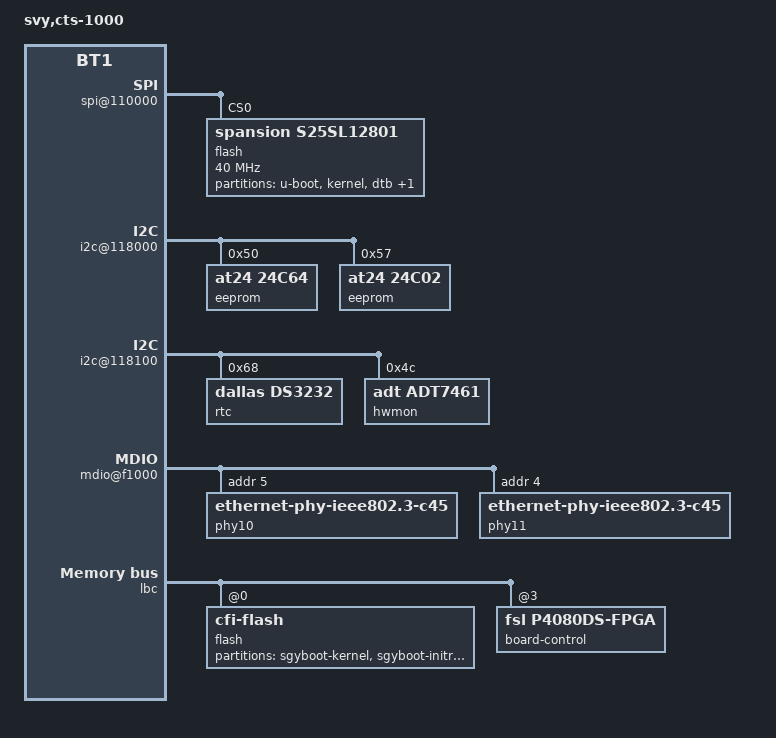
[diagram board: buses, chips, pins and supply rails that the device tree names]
/*
 * Servergy CTS-1000 (CT1) Device Tree Source
 *
 * Copyright 2009 - 2015 Freescale Semiconductor Inc.
 * Copyright 2011-2013, 2015-2018 Servergy, Inc.
 *
 * Redistribution and use in source and binary forms, with or without
 * modification, are permitted provided that the following conditions are met:
 *     * Redistributions of source code must retain the above copyright
 *       notice, this list of conditions and the following disclaimer.
 *     * Redistributions in binary form must reproduce the above copyright
 *       notice, this list of conditions and the following disclaimer in the
 *       documentation and/or other materials provided with the distribution.
 *     * Neither the name of Freescale Semiconductor nor the
 *       names of its contributors may be used to endorse or promote products
 *       derived from this software without specific prior written permission.
 *
 *
 * ALTERNATIVELY, this software may be distributed under the terms of the
 * GNU General Public License ("GPL") as published by the Free Software
 * Foundation, either version 2 of that License or (at your option) any
 * later version.
 *
 * THIS SOFTWARE IS PROVIDED BY Freescale Semiconductor ``AS IS'' AND ANY
 * EXPRESS OR IMPLIED WARRANTIES, INCLUDING, BUT NOT LIMITED TO, THE IMPLIED
 * WARRANTIES OF MERCHANTABILITY AND FITNESS FOR A PARTICULAR PURPOSE ARE
 * DISCLAIMED. IN NO EVENT SHALL Freescale Semiconductor BE LIABLE FOR ANY
 * DIRECT, INDIRECT, INCIDENTAL, SPECIAL, EXEMPLARY, OR CONSEQUENTIAL DAMAGES
 * (INCLUDING, BUT NOT LIMITED TO, PROCUREMENT OF SUBSTITUTE GOODS OR SERVICES;
 * LOSS OF USE, DATA, OR PROFITS; OR BUSINESS INTERRUPTION) HOWEVER CAUSED AND
 * ON ANY THEORY OF LIABILITY, WHETHER IN CONTRACT, STRICT LIABILITY, OR TORT
 * (INCLUDING NEGLIGENCE OR OTHERWISE) ARISING IN ANY WAY OUT OF THE USE OF THIS
 * SOFTWARE, EVEN IF ADVISED OF THE POSSIBILITY OF SUCH DAMAGE.
 */

#include <dt-bindings/gpio/gpio.h>
/include/ "p4080si-pre.dtsi"

/ {
	model = "svy,cts-1000";
	compatible = "fsl,P4080DS", "cyphre,bt1";
	#address-cells = <2>;
	#size-cells = <2>;
	interrupt-parent = <&mpic>;

	memory {
		device_type = "memory";
	};

	reserved-memory {
		#address-cells = <2>;
		#size-cells = <2>;
		ranges;

		bman_fbpr: bman-fbpr {
			size = <0 0x1000000>;
			alignment = <0 0x1000000>;
		};
		qman_fqd: qman-fqd {
			size = <0 0x400000>;
			alignment = <0 0x400000>;
		};
		qman_pfdr: qman-pfdr {
			size = <0 0x2000000>;
			alignment = <0 0x2000000>;
		};
	};

	dcsr: dcsr@f00000000 {
		ranges = <0x00000000 0xf 0x00000000 0x01008000>;
	};

	bportals: bman-portals@ff4000000 {
		ranges = <0x0 0xf 0xf4000000 0x200000>;
	};

	qportals: qman-portals@ff4200000 {
		ranges = <0x0 0xf 0xf4200000 0x200000>;
	};

	soc: soc@ffe000000 {
		ranges = <0x00000000 0xf 0xfe000000 0x1000000>;
		reg = <0xf 0xfe000000 0 0x00001000>;

		spi@110000 {
			flash@0 {
				#address-cells = <1>;
				#size-cells = <1>;
				compatible = "spansion,s25sl12801", "jedec,spi-nor";
				reg = <0>;
				spi-max-frequency = <40000000>; /* input clock */
				partition@u-boot {
					label = "u-boot";
					reg = <0x00000000 0x00100000>;
					read-only;
				};
				partition@kernel {
					label = "kernel";
					reg = <0x00100000 0x00500000>;
					read-only;
				};
				partition@dtb {
					label = "dtb";
					reg = <0x00600000 0x00100000>;
					read-only;
				};
				partition@fs {
					label = "file system";
					reg = <0x00700000 0x00900000>;
				};
			};
		};

		i2c@118000 {
			/* RCW EEPROM */
			eeprom@50 {
				compatible = "at24,24c64";
				reg = <0x50>;
			};
			/* SYS EEPROM */
			eeprom@57 {
				compatible = "at24,24c02";
				reg = <0x57>;
			};
		};

		i2c@118100 {
			rtc@68 {
				compatible = "dallas,ds3232";
				reg = <0x68>;
				interrupts = <0x1 0x1 0 0>;
			};
			hwmon@4c {
				compatible = "adt,adt7461";
				reg = <0x4c>;
			};
		};

		usb0: usb@210000 {
		};

		usb1: usb@211000 {
		};

		fman@400000 {
			ethernet@f0000 {
				phy-handle = <&phy10>;
				phy-connection-type = "xgmii";
			};

			mdio@f1000 {
				phy10: ethernet-phy@4 {
					compatible = "ethernet-phy-ieee802.3-c45";
					reg = <0x5>;
				};
				phy11: ethernet-phy@5 {
					compatible = "ethernet-phy-ieee802.3-c45";
					reg = <0x4>;
				};
			};
		};

		fman@500000 {
			ethernet@f0000 {
				phy-handle = <&phy11>;
				phy-connection-type = "xgmii";
			};
		};

		gpio@130000 {
			/* Allows powering off the system via GPIO signal. */
			gpio-halt@27 {
				compatible = "sgy,gpio-halt";
				gpios = <&gpio0 27 GPIO_ACTIVE_LOW>;
				interrupts = <8 1 0 0>;
			};
		};
	};

	rio: rapidio@ffe0c0000 {
		/* Placeholder, will delete below */
	};

	lbc: localbus@ffe124000 {
		reg = <0xf 0xfe124000 0 0x1000>;
		ranges = <0 0 0xf 0xe8000000 0x08000000
			  3 0 0xf 0xffdf0000 0x00008000>;

		flash@0,0 {
			compatible = "cfi-flash";
			reg = <0 0 0x08000000>;
			bank-width = <2>;
			device-width = <2>;
			#address-cells = <0x1>;
			#size-cells = <0x1>;

			/* 16M for kernel */
			partition@0 {
				label = "sgyboot-kernel";
				reg = <0x00000000 0x01000000>;
			};
			/* 64M for root fs */
			partition@1 {
				label = "sgyboot-initrd";
				reg = <0x01000000 0x04000000>;
			};
			/* 256K for FMan microcode */
			partition@2 {
				label = "fsl-fman-ucode";
				reg = <0x05000000 0x00040000>;
			};
			/* 256K for Device-tree */
			partition@3 {
				label = "device-tree";
				reg = <0x05040000 0x00040000>;
			};
			/* 128K for u-Boot environment */
			partition@4 {
				label = "u-boot-env";
				reg = <0x05080000 0x00020000>;
			};
			/* 128K Unused */

			/* 1Meg for splash screen in u-boot's UDL driver */
			partition@6 {
				label = "udl-splash";
				reg = <0x050c0000 0x00100000>;
			};

			/* ~44Megs Unused */

			/* 2.5M for u-Boot */
			partition@5 {
				label = "u-boot";
				reg = <0x07D80000 0x00280000>;
			};

			/* 128k block for hash to check secure boot (only uses 0x600 bytes) */
			partition@7 {
				label = "secboot-hash";
				reg = <0x07000000 0x00020000>;
			};

			/* The whole flash area */
			partition@20 {
				label = "whole";
				reg = <0x00000000 0x08000000>;
			};
		};

		board-control@3,0 {
			compatible = "fsl,p4080ds-fpga", "fsl,fpga-ngpixis";
			reg = <3 0 0x30>;
		};
	};

	pci0: pcie@ffe200000 {
		reg = <0xf 0xfe200000 0 0x1000>;
		ranges = <0x02000000 0 0xe0000000 0xc 0x00000000 0x0 0x20000000
			  0x01000000 0 0x00000000 0xf 0xf8000000 0x0 0x00010000>;
		pcie@0 {
			ranges = <0x02000000 0 0xe0000000
				  0x02000000 0 0xe0000000
				  0 0x20000000

				  0x01000000 0 0x00000000
				  0x01000000 0 0x00000000
				  0 0x00010000>;
		};
	};

	pci1: pcie@ffe201000 {
		reg = <0xf 0xfe201000 0 0x1000>;
		ranges = <0x02000000 0x0 0xe0000000 0xc 0x20000000 0x0 0x20000000
			  0x01000000 0x0 0x00000000 0xf 0xf8010000 0x0 0x00010000>;
		pcie@0 {
			ranges = <0x02000000 0 0xe0000000
				  0x02000000 0 0xe0000000
				  0 0x20000000

				  0x01000000 0 0x00000000
				  0x01000000 0 0x00000000
				  0 0x00010000>;
		};
	};

	pci2: pcie@ffe202000 {
		/* Placeholder, will delete below */
	};
};

/include/ "p4080si-post.dtsi"

/* All of this just removes devices that we don't have on BT1. For the most
 * part, this is dTSEC (1g network interfaces, since we have Broadcom). We
 * could just let the kernel probe all of these, but it skews things like
 * mac address assignment. */
/ {
	aliases {
		/delete-property/ ethernet0;
		/delete-property/ ethernet1;
		/delete-property/ ethernet2;
		/delete-property/ ethernet3;
		/delete-property/ ethernet5;
		/delete-property/ ethernet6;
		/delete-property/ ethernet7;
		/delete-property/ ethernet8;
		/delete-property/ sdhc;
		/delete-property/ pci2;
	};

	soc@ffe000000 {
		fman@400000 {
			/delete-node/ mdio@e1120;
			/delete-node/ mdio@e3120;
			/delete-node/ mdio@e5120;
			/delete-node/ mdio@e7120;

			port@90000 {
				compatible = "fsl,fman-v2-port-rx", "fsl,fman-port-10g-rx";
			};
		};
		fman@500000 {
			/delete-node/ mdio@e1120;
			/delete-node/ mdio@e3120;
			/delete-node/ mdio@e5120;
			/delete-node/ mdio@e7120;
			/delete-node/ mdio@f1000;

			port@90000 {
				compatible = "fsl,fman-v2-port-rx", "fsl,fman-port-10g-rx";
			};
		};

		/delete-node/ sdhc@114000;
	};

	/delete-node/ rapidio@ffe0c0000;
};

/delete-node/ &fman0_rx_0x08;
/delete-node/ &fman0_tx_0x28;
/delete-node/ &enet0;

/delete-node/ &fman0_rx_0x09;
/delete-node/ &fman0_tx_0x29;
/delete-node/ &enet1;

/delete-node/ &fman0_rx_0x0a;
/delete-node/ &fman0_tx_0x2a;
/delete-node/ &enet2;

/delete-node/ &fman0_rx_0x0b;
/delete-node/ &fman0_tx_0x2b;
/delete-node/ &enet3;

/delete-node/ &fman1_rx_0x08;
/delete-node/ &fman1_tx_0x28;
/delete-node/ &enet5;

/delete-node/ &fman1_rx_0x09;
/delete-node/ &fman1_tx_0x29;
/delete-node/ &enet6;

/delete-node/ &fman1_rx_0x0a;
/delete-node/ &fman1_tx_0x2a;
/delete-node/ &enet7;

/delete-node/ &fman1_rx_0x0b;
/delete-node/ &fman1_tx_0x2b;
/delete-node/ &enet8;

/delete-node/ &pci2;
